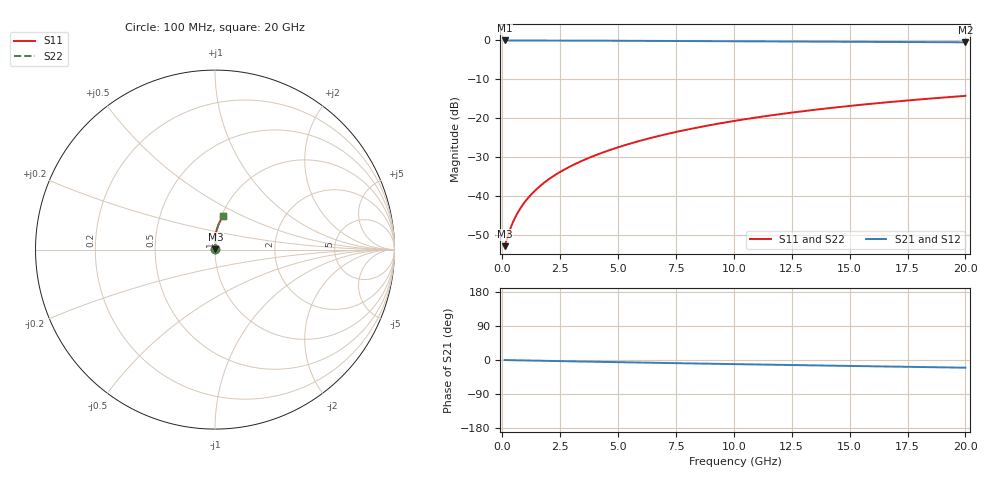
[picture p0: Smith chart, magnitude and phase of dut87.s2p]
! Touchstone file exported from HFSS 2024.1.0
!  File:  C:/UserFiles/LocalFiles/RDL_TSV_Batchsim/temp_RDL_bottom_87_1778694620.aedt
!  Generated:  01:52:36 AM May 14, 2026
!  Design:  RDL_bottom
!  Project:  temp_RDL_bottom_87_1778694620
!  Setup:  Setup1
!  Solution:  Sweep
! Variables:
!  dtsv = 10.80580581um
!  hbump = 3um
!  htsv = 56.43um
!  ldown = 284.2um
!  lrdl = 100um
!  p = 40
!  p1 = 42.12um
!  rhole = 1um
!  t = 450um
!  tdown = 2.49um
!  trdl = 3.915915916um
!  wdown = 23.2um
!  wrdl = 20um
# GHz S MA R 50.000000
! Terminal data exported
! Port[1] = RDL1_T1
! Port[2] = RDL1_T2
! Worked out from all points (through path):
!   200 points, 100 MHz to 20 GHz, reference 50 ohm
!   highest |S21| = -0.02 dB at 100 MHz (marker M1); lowest = -0.5 dB at 20 GHz (marker M2)
!   group delay of S21, straight-line fit = 2.79 ps
!   lowest |S11| = -52.9 dB at 100 MHz (marker M3), VSWR 1.00, Z = 50.2 + j0.093 ohm
!   |S11| at or under -10 dB: start of sweep to end of sweep
!   |S22| runs from -52.9 to -14.3 dB; largest |S21 - S12| = 3.8e-15
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0.1  0.002263 24.1  0.9979 -0.1  0.9979 -0.1  0.002263 24.1
! Gamma 0 0 0 0
! Port Impedance 50 0 50 0
0.3  0.003472 50.3  0.9977 -0.4  0.9977 -0.4  0.003471 50.3
0.4  0.004175 56.7  0.9976 -0.5  0.9976 -0.5  0.004174 56.7
0.6  0.005613 64.7  0.9974 -0.7  0.9974 -0.7  0.005611 64.7
0.7  0.006342 67.5  0.9973 -0.8  0.9973 -0.8  0.00634 67.5
0.9  0.00782 71.7  0.9971 -1.1  0.9971 -1.1  0.00782 71.7
1.2  0.01008 75.9  0.9968 -1.4  0.9968 -1.4  0.01009 75.9
1.4  0.01162 78.0  0.9965 -1.7  0.9965 -1.7  0.01162 78.0
1.7  0.01396 80.3  0.9962 -2.0  0.9962 -2.0  0.01396 80.3
2.2  0.01794 83.0  0.9955 -2.6  0.9955 -2.6  0.01794 83.0
2.8  0.02286 85.1  0.9944 -3.3  0.9944 -3.3  0.02286 85.1
3.5  0.02879 86.8  0.993 -4.1  0.993 -4.1  0.02879 86.8
4.2  0.03494 87.8  0.9914 -4.8  0.9914 -4.8  0.03494 87.8
5  0.04223 88.5  0.9893 -5.7  0.9893 -5.7  0.04224 88.5
5.9  0.05073 88.8  0.9868 -6.7  0.9868 -6.7  0.05073 88.8
6.8  0.0595 88.7  0.9842 -7.6  0.9842 -7.6  0.0595 88.7
8.4  0.07556 88.0  0.9793 -9.3  0.9793 -9.3  0.07556 88.0
10.1  0.09303 86.7  0.9742 -11.0  0.9742 -11.0  0.09304 86.7
11.7  0.1096 85.1  0.9694 -12.5  0.9694 -12.5  0.1096 85.2
13.4  0.1272 83.4  0.9643 -14.2  0.9643 -14.2  0.1272 83.4
16.7  0.1609 79.8  0.9547 -17.3  0.9547 -17.3  0.1609 79.8
20  0.1936 76.2  0.9451 -20.3  0.9451 -20.3  0.1936 76.2
